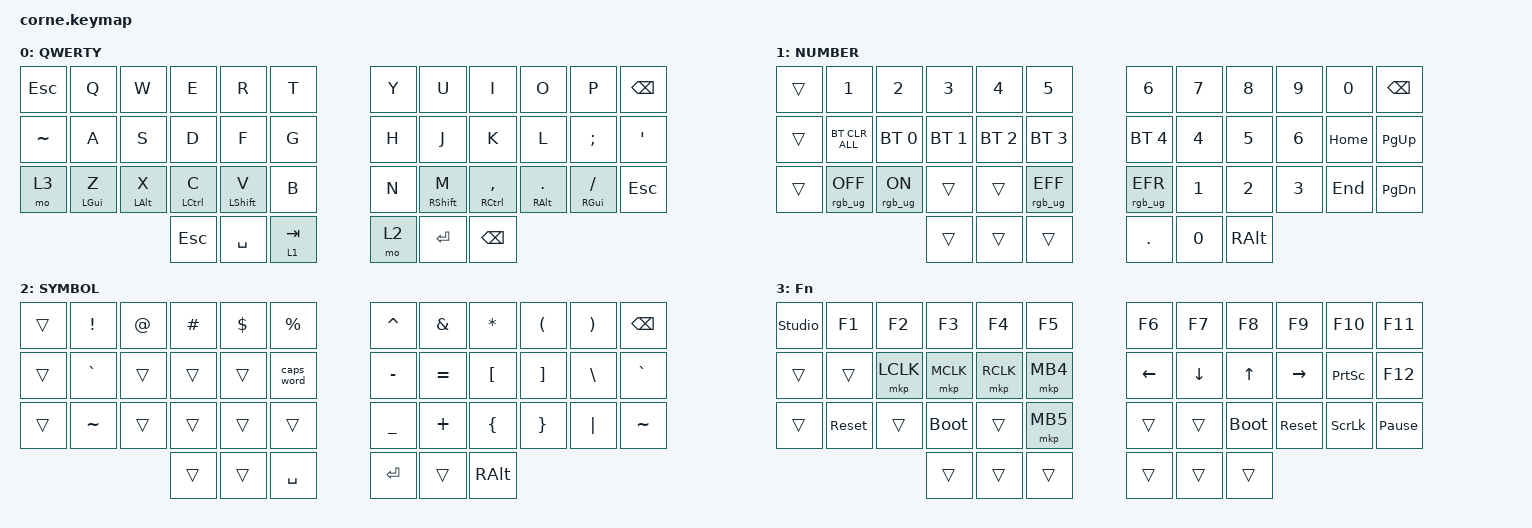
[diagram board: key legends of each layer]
/*
* Copyright (c) 2020 The ZMK Contributors
*
* SPDX-License-Identifier: MIT
*/

#include <behaviors.dtsi>
#include <dt-bindings/zmk/keys.h>
#include <dt-bindings/zmk/bt.h>
#include <dt-bindings/zmk/rgb.h>
#include <dt-bindings/zmk/outputs.h>
#include <dt-bindings/zmk/mouse.h>

&led_strip {
    chain-length = <27>;
};

/ {
    behaviors {
        hml: home_row_mod_left {
            compatible = "zmk,behavior-hold-tap";
            #binding-cells = <2>;
            flavor = "balanced";
            require-prior-idle-ms = <150>;
            tapping-term-ms = <280>;
            quick-tap-ms = <175>;
            bindings = <&kp>, <&kp>;
            hold-trigger-key-positions = <0 1 2 3 4 5  12 13 14 15 16 17  24 25 26 27 28 29 >; // List of keys on the right side of the keyboard
            hold-trigger-on-release;
        };
        hmr: home_row_mod_right {
            compatible = "zmk,behavior-hold-tap";
            #binding-cells = <2>;
            flavor = "balanced";
            require-prior-idle-ms = <150>;
            tapping-term-ms = <280>;
            quick-tap-ms = <175>;
            bindings = <&kp>, <&kp>;
            hold-trigger-key-positions = < 6 7 8 9 10 11  18 19 20 21 22 23  30 31 32 33 34 35 >; // List of keys on the left side of the keyboard
            hold-trigger-on-release;
        };

    };
    keymap {
        compatible = "zmk,keymap";

        qwerty {
            display-name = "QWERTY";
            bindings = <
                &kp ESC    &kp Q       &kp W       &kp E       &kp R         &kp T         &kp Y &kp U          &kp I             &kp O         &kp P          &kp BSPC
                &kp TILDE  &kp A       &kp S       &kp D       &kp F         &kp G         &kp H &kp J          &kp K             &kp L         &kp SEMI       &kp SQT
                &mo 3      &hml LGUI Z &hml LALT X &hml LCTL C &hml LSHIFT V &kp B         &kp N &hmr RSHFT M   &hmr RCTRL COMMA  &hmr RALT DOT &hmr RGUI FSLH &kp ESC

                &kp ESC  &kp SPACE  &lt 1 TAB      &mo 2  &kp ENTER  &kp BSPC
            >;
        };

        number {
            display-name = "NUMBER";
            bindings = <
                &trans  &kp N1           &kp N2          &kp N3       &kp N4       &kp N5                   &kp N6           &kp N7 &kp N8 &kp N9 &kp N0    &kp BSPC
                &trans  &bt BT_CLR_ALL   &bt BT_SEL 0    &bt BT_SEL 1 &bt BT_SEL 2 &bt BT_SEL 3             &bt BT_SEL 4     &kp N4 &kp N5 &kp N6 &kp HOME  &kp PG_UP 
                &trans  &rgb_ug RGB_OFF  &rgb_ug RGB_ON  &trans       &trans       &rgb_ug RGB_EFF          &rgb_ug RGB_EFR  &kp N1 &kp N2 &kp N3 &kp END   &kp PG_DN

                &trans  &trans  &trans      &kp DOT  &kp N0   &kp RALT
            >;
        };

        symbol {
            display-name = "SYMBOL";
            bindings = <
                &trans &kp EXCL &kp AT &kp HASH &kp DLLR &kp PRCNT     &kp CARET &kp AMPS  &kp ASTRK &kp LPAR &kp RPAR &kp BSPC
                &trans &kp GRAVE   &trans &trans   &trans   &caps_word    &kp MINUS &kp EQUAL &kp LBKT  &kp RBKT &kp BSLH &kp GRAVE
                &trans &kp TILDE   &trans &trans   &trans   &trans        &kp UNDER &kp PLUS  &kp LBRC  &kp RBRC &kp PIPE &kp TILDE

                &trans &trans  &kp SPACE   &kp RET   &trans    &kp RALT
            >;
        };

        fn {
            display-name = "Fn";
            bindings = <
                &studio_unlock   &kp F1      &kp F2      &kp F3       &kp F4     &kp F5         &kp F6      &kp F7     &kp F8       &kp F9      &kp F10          &kp F11
                &trans           &trans      &mkp LCLK   &mkp MCLK    &mkp RCLK  &mkp MB4       &kp LEFT    &kp DOWN  &kp UP  &kp RIGHT   &kp PRINTSCREEN  &kp F12
                &trans           &sys_reset  &trans      &bootloader  &trans     &mkp MB5       &trans      &trans     &bootloader  &sys_reset  &kp SCROLLLOCK   &kp PAUSE_BREAK
                &trans      &trans      &trans                      &trans       &trans         &trans
            >;
        };

        /* layer_4 { */
        /*     display-name = "Espanol"; */
        /*     bindings = < */
        /*         &studio_unlock   &kp F1      &kp F2      &kp E       &kp F4     &kp F5         &kp F6      &kp F7     &kp F8       &kp F9      &kp F10          &kp F11 */
        /*         &trans           &trans      &mkp LCLK   &mkp MCLK    &mkp RCLK  &mkp MB4       &kp LEFT    &kp DOWN  &kp UP  &kp RIGHT   &kp PRINTSCREEN  &kp F12 */
        /*         &trans           &sys_reset  &trans      &bootloader  &trans     &mkp MB5       &trans      &trans     &bootloader  &sys_reset  &kp SCROLLLOCK   &kp PAUSE_BREAK */
        /*                                              &trans      &trans      &trans                      &trans       &trans         &trans */
        /*     >; */
        /* }; */
        /**/
    };
};
